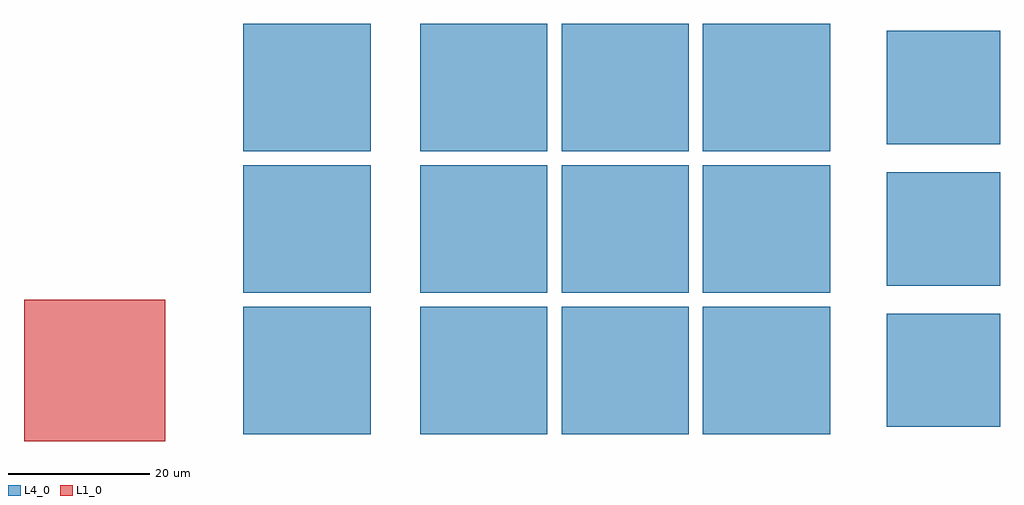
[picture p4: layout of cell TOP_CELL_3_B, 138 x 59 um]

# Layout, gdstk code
import gdstk
lib = gdstk.Library(unit=1e-6, precision=1e-09)
def R(c, l, rs):  # rectangles x0, y0, x1, y1
    for r in rs: c.add(gdstk.rectangle(r[:2], r[2:], *l))
L1_0 = (1, 0)
L4_0 = (4, 0)

child_cell_3_1_1 = lib.new_cell('CHILD_CELL_3_1_1')
R(child_cell_3_1_1, L4_0, [(-7,-7,7,7)])

child_cell_3_1 = lib.new_cell('CHILD_CELL_3_1')
R(child_cell_3_1, L4_0, [(-8,-8,8,8)])
child_cell_3_1.add(gdstk.Reference(child_cell_3_1_1, (0,0)))

child_cell_3 = lib.new_cell('CHILD_CELL_3')
R(child_cell_3, L4_0, [(-9,-9,9,9)])
child_cell_3.add(gdstk.Reference(child_cell_3_1, (0,0)))

child_cell_3_b = lib.new_cell('CHILD_CELL_3_B')
child_cell_3_b.add(gdstk.Reference(child_cell_3_1, (0,0)))
child_cell_3_b.add(gdstk.Reference(child_cell_3_1, (0,20)))
child_cell_3_b.add(gdstk.Reference(child_cell_3_1, (0,-20)))

top_cell_3_b = lib.new_cell('TOP_CELL_3_B')
R(top_cell_3_b, L1_0, [(-10,-10,10,10)])
top_cell_3_b.add(gdstk.Reference(child_cell_3, (30,0)))
r = gdstk.Reference(child_cell_3, (55,0)); r.repetition = gdstk.Repetition(3, 3, v1=(20,0), v2=(0,20)); top_cell_3_b.add(r)
top_cell_3_b.add(gdstk.Reference(child_cell_3, (30,20)))
top_cell_3_b.add(gdstk.Reference(child_cell_3, (30,40)))
top_cell_3_b.add(gdstk.Reference(child_cell_3_b, (120,20)))

lib.write_gds('TOP_CELL_3_B.gds')
